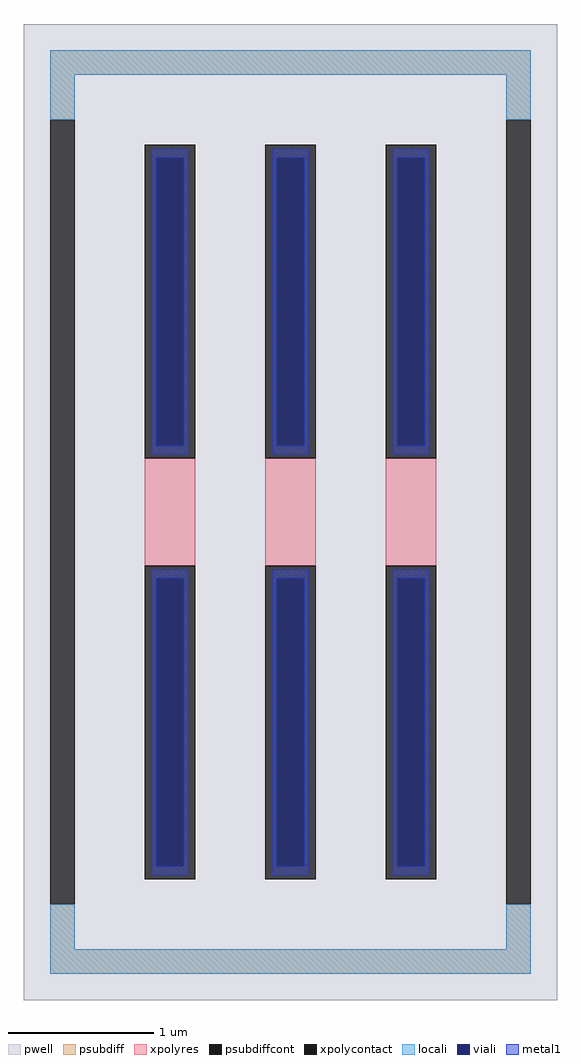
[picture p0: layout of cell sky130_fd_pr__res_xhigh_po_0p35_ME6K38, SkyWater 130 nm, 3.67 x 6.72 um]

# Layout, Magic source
magic
tech sky130A
magscale 1 2
<< pwell >>
rect -367 -672 367 672
<< psubdiff >>
rect -331 602 331 636
rect -331 540 -297 602
rect 297 540 331 602
rect -331 -602 -297 -540
rect 297 -602 331 -540
rect -331 -636 331 -602
<< psubdiffcont >>
rect -331 -540 -297 540
rect 297 -540 331 540
<< xpolycontact >>
rect -201 74 -131 506
rect -201 -506 -131 -74
rect -35 74 35 506
rect -35 -506 35 -74
rect 131 74 201 506
rect 131 -506 201 -74
<< xpolyres >>
rect -201 -74 -131 74
rect -35 -74 35 74
rect 131 -74 201 74
<< locali >>
rect -331 602 331 636
rect -331 540 -297 602
rect 297 540 331 602
rect -331 -602 -297 -540
rect 297 -602 331 -540
rect -331 -636 331 -602
<< viali >>
rect -185 91 -147 488
rect -19 91 19 488
rect 147 91 185 488
rect -185 -488 -147 -91
rect -19 -488 19 -91
rect 147 -488 185 -91
<< metal1 >>
rect -191 488 -141 500
rect -191 91 -185 488
rect -147 91 -141 488
rect -191 79 -141 91
rect -25 488 25 500
rect -25 91 -19 488
rect 19 91 25 488
rect -25 79 25 91
rect 141 488 191 500
rect 141 91 147 488
rect 185 91 191 488
rect 141 79 191 91
rect -191 -91 -141 -79
rect -191 -488 -185 -91
rect -147 -488 -141 -91
rect -191 -500 -141 -488
rect -25 -91 25 -79
rect -25 -488 -19 -91
rect 19 -488 25 -91
rect -25 -500 25 -488
rect 141 -91 191 -79
rect 141 -488 147 -91
rect 185 -488 191 -91
rect 141 -500 191 -488
<< properties >>
string FIXED_BBOX -314 -619 314 619
string gencell sky130_fd_pr__res_xhigh_po_0p35
string library sky130
string parameters w 0.350 l 0.9 m 1 nx 3 wmin 0.350 lmin 0.50 rho 2000 val 6.218k dummy 0 dw 0.0 term 188.2 sterm 0.0 caplen 0 wmax 0.350 guard 1 glc 1 grc 1 gtc 0 gbc 0 compatible {sky130_fd_pr__res_xhigh_po_0p35  sky130_fd_pr__res_xhigh_po_0p69 sky130_fd_pr__res_xhigh_po_1p41  sky130_fd_pr__res_xhigh_po_2p85 sky130_fd_pr__res_xhigh_po_5p73} snake 0 full_metal 1 n_guard 0 hv_guard 0 vias 1 viagb 0 viagt 0 viagl 0 viagr 0
<< end >>
